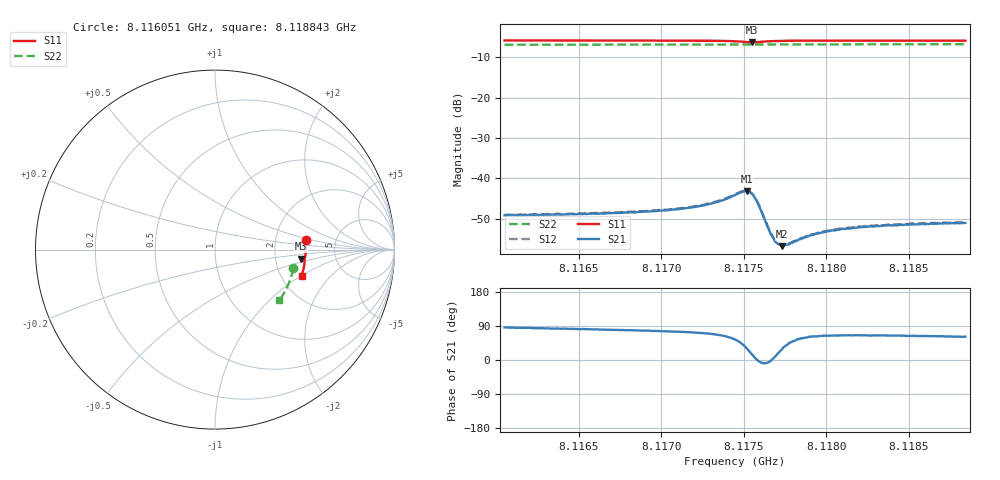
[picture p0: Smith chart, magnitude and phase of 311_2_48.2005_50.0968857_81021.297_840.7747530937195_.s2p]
#  HZ  S  RI  R  50.00
! Rohde & Schwarz Vector Network Analyzer
! Rohde-Schwarz,ZNB20-2Port,1311601062101988,3.16
! Created: UTC 3/20/2024, 11:49:59 AM
! freq[Hz]  re:S11  im:S11  re:S21  im:S21  re:S12  im:S12  re:S22  im:S22
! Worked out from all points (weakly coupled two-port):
!   401 points, 8.116051 GHz to 8.118843 GHz, reference 50 ohm
!   highest |S21| = -43.13 dB at 8.117517 GHz (marker M1); lowest = -56.7 dB at 8.117733 GHz (marker M2)
!   lowest |S11| = -6.4 dB at 8.117552 GHz (marker M3), VSWR 2.85, Z = 140 - j18.6 ohm
!   |S11| at or under -10 dB: nowhere
!   |S22| runs from -7.0 to -6.8 dB; largest |S21 - S12| = 0.00018
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8.116051e9  0.5044 0.0544  0.000249 0.0035  0.000298 0.00354  0.4361 -0.1049
8.1165187e9  0.5062 0.0192  0.000538 0.00359  0.000579 0.00366  0.4287 -0.1364
8.1169863e9  0.5055 -0.0169  0.000954 0.0039  0.000996 0.00398  0.4189 -0.1675
8.1171329e9  0.5043 -0.0289  0.00118 0.00407  0.00126 0.00411  0.4154 -0.1771
8.1172515e9  0.5026 -0.0392  0.00149 0.00437  0.0016 0.00444  0.4122 -0.1848
8.1173562e9  0.4994 -0.0492  0.00217 0.00478  0.00226 0.00485  0.4094 -0.1917
8.1174469e9  0.4923 -0.0582  0.00365 0.00506  0.00381 0.00512  0.4066 -0.1975
8.1174888e9  0.4858 -0.0603  0.00501 0.00464  0.00514 0.00465  0.4051 -0.2003
8.1175167e9  0.4804 -0.0583  0.00595 0.00364  0.00613 0.00362  0.4042 -0.2017
8.1175516e9  0.4777 -0.0513  0.00621 0.0015  0.0063 0.00149  0.4031 -0.2033
8.1175656e9  0.4787 -0.0484  0.00581 0.000663  0.00591 0.00061  0.4028 -0.2042
8.1175865e9  0.4823 -0.0454  0.00487 -0.000162  0.00496 -0.000227  0.4023 -0.2054
8.1176494e9  0.493 -0.0478  0.00239 -0.00026  0.00243 -0.000287  0.4012 -0.2094
8.1176773e9  0.4957 -0.0511  0.00184 0.0001  0.00189 8.6e-05  0.4003 -0.2112
8.1177052e9  0.4972 -0.0545  0.00149 0.000448  0.00156 0.000433  0.3995 -0.2131
8.1177331e9  0.498 -0.0578  0.00127 0.000705  0.00129 0.000769  0.3988 -0.2149
8.117768e9  0.4987 -0.0617  0.00114 0.00102  0.00115 0.00102  0.3976 -0.2171
8.1179146e9  0.4986 -0.0754  0.000948 0.00179  0.000959 0.00179  0.393 -0.2264
8.1180402e9  0.4973 -0.086  0.000983 0.00206  0.00102 0.0021  0.389 -0.2342
8.1181868e9  0.4953 -0.0976  0.00101 0.00225  0.00109 0.00229  0.3839 -0.2432
8.1183822e9  0.4921 -0.1124  0.00114 0.00238  0.00116 0.00239  0.3768 -0.2549
8.1188428e9  0.4828 -0.146  0.00134 0.00249  0.00138 0.00251  0.3589 -0.2819
